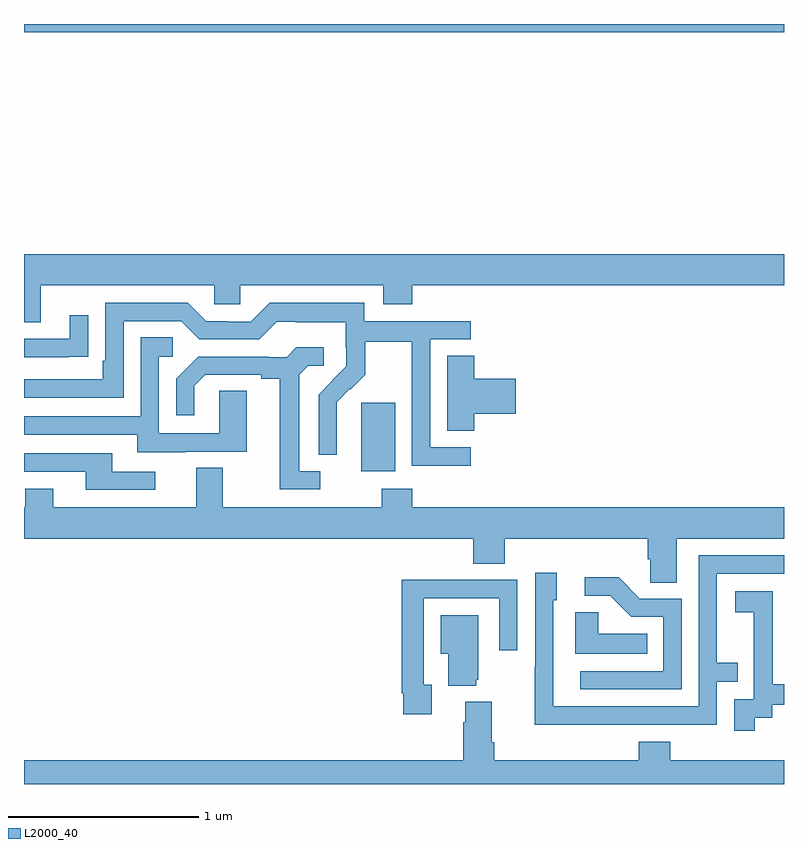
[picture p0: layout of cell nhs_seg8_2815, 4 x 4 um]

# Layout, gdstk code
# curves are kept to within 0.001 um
import gdstk
lib = gdstk.Library(unit=1e-6, precision=1e-09)
def R(c, l, rs):  # rectangles x0, y0, x1, y1
    for r in rs: c.add(gdstk.rectangle(r[:2], r[2:], *l))
def P(c, l, *ps):  # polygons
    for p in ps: c.add(gdstk.Polygon(p, *l))
L2000_40 = (2000, 40)

nhs_seg8_2815 = lib.new_cell('nhs_seg8_2815')
R(nhs_seg8_2815, L2000_40, [(290.774,1091.546,290.953,1091.907), (289,1093.856,293,1093.9)])
P(nhs_seg8_2815, L2000_40, [(289.087,1092.524),(290.001,1092.524),(290.001,1092.426),(290.139,1092.426),(290.139,1092.524),(290.891,1092.524),(290.891,1092.425),(291.044,1092.425),(291.044,1092.524),(293,1092.524),(293,1092.688),(289,1092.688),(289,1092.33),(289.087,1092.33)],
  [(291.352,1091.673),(291.138,1091.673),(291.138,1092.24),(291.352,1092.24),(291.352,1092.336),(290.79,1092.336),(290.79,1092.433),(290.293,1092.433),(290.193,1092.333),(290.078,1092.333),(290.078,1092.336),(289.959,1092.336),(289.863,1092.432),(289.428,1092.432),(289.428,1092.127),(289.415,1092.127),(289.415,1092.03),(289,1092.03),(289,1091.934),(289.524,1091.934),(289.524,1092.336),(289.827,1092.336),(289.923,1092.24),(290.238,1092.24),(290.331,1092.333),(290.431,1092.333),(290.431,1092.329),(290.694,1092.329),(290.694,1092.195),(290.696,1092.195),(290.696,1092.098),(290.55,1091.95),(290.55,1091.632),(290.646,1091.632),(290.645,1091.909),(290.715,1091.979),(290.718,1091.976),(290.795,1092.053),(290.795,1092.228),(291.04,1092.228),(291.04,1092.004),(291.042,1092.004),(291.042,1091.575),(291.352,1091.575)],
  [(289.235,1092.148),(289.337,1092.148),(289.337,1092.367),(289.241,1092.367),(289.241,1092.243),(289,1092.243),(289,1092.147),(289.235,1092.147)],
  [(289.849,1091.649),(290.173,1091.649),(290.173,1091.969),(290.028,1091.969),(290.028,1091.745),(289.71,1091.745),(289.71,1092.15),(289.783,1092.15),(289.783,1092.251),(289.614,1092.251),(289.614,1091.835),(289,1091.835),(289,1091.739),(289.595,1091.739),(289.595,1091.645),(289.849,1091.645)],
  [(290.56,1091.547),(290.449,1091.547),(290.449,1092.055),(290.496,1092.102),(290.578,1092.102),(290.578,1092.199),(290.434,1092.199),(290.382,1092.147),(290.288,1092.147),(290.288,1092.15),(289.916,1092.15),(289.8,1092.034),(289.8,1091.841),(289.897,1091.841),(289.897,1091.997),(289.954,1092.054),(290.249,1092.054),(290.249,1092.032),(290.345,1092.032),(290.345,1091.451),(290.56,1091.451)],
  [(291.371,1091.849),(291.589,1091.849),(291.589,1092.032),(291.371,1092.032),(291.371,1092.155),(291.227,1092.155),(291.227,1091.758),(291.371,1091.758)],
  [(289.69,1091.544),(289.465,1091.544),(289.465,1091.64),(289,1091.64),(289,1091.544),(289.325,1091.544),(289.325,1091.448),(289.69,1091.448)],
  [(292.435,1091.192),(293,1091.192),(293,1091.356),(291.044,1091.356),(291.044,1091.455),(290.884,1091.455),(290.884,1091.356),(290.047,1091.356),(290.047,1091.564),(289.907,1091.564),(289.907,1091.356),(289.153,1091.356),(289.153,1091.455),(289.006,1091.455),(289.006,1091.356),(289,1091.356),(289,1091.192),(291.365,1091.192),(291.365,1091.059),(291.53,1091.059),(291.53,1091.192),(292.283,1091.192),(292.283,1091.083),(292.296,1091.083),(292.296,1090.96),(292.435,1090.96)],
  [(292.151,1090.212),(292.647,1090.212),(292.647,1090.437),(292.757,1090.437),(292.757,1090.538),(292.647,1090.538),(292.647,1091.007),(293,1091.007),(293,1091.103),(292.551,1091.103),(292.551,1090.308),(291.786,1090.308),(291.786,1090.866),(291.805,1090.866),(291.805,1091.011),(291.69,1091.011),(291.69,1090.517),(291.688,1090.517),(291.688,1090.211),(292.151,1090.211)],
  [(292.461,1090.875),(292.242,1090.875),(292.129,1090.988),(291.951,1090.988),(291.951,1090.89),(292.085,1090.89),(292.196,1090.779),(292.365,1090.779),(292.365,1090.494),(291.927,1090.494),(291.927,1090.398),(292.461,1090.398)],
  [(291.145,1090.422),(291.105,1090.422),(291.105,1090.878),(291.501,1090.878),(291.501,1090.605),(291.597,1090.605),(291.597,1090.974),(291.281,1090.974),(291.281,1090.976),(290.989,1090.976),(290.989,1090.378),(290.997,1090.378),(290.997,1090.266),(291.145,1090.266)],
  [(292.846,1090.249),(292.938,1090.249),(292.938,1090.317),(293,1090.317),(293,1090.426),(292.94,1090.426),(292.94,1090.709),(292.941,1090.709),(292.941,1090.915),(292.743,1090.915),(292.743,1090.805),(292.841,1090.805),(292.841,1090.577),(292.842,1090.577),(292.842,1090.347),(292.737,1090.347),(292.737,1090.179),(292.846,1090.179)],
  [(292.28,1090.69),(292.023,1090.69),(292.023,1090.805),(291.902,1090.805),(291.902,1090.586),(292.28,1090.586)],
  [(291.38,1090.449),(291.391,1090.449),(291.391,1090.789),(291.194,1090.789),(291.194,1090.586),(291.233,1090.586),(291.233,1090.418),(291.38,1090.418)],
  [(293,1090.024),(292.4,1090.024),(292.4,1090.123),(292.235,1090.123),(292.235,1090.024),(291.476,1090.024),(291.476,1090.12),(291.463,1090.12),(291.463,1090.333),(291.323,1090.333),(291.323,1090.226),(291.311,1090.226),(291.311,1090.024),(289,1090.024),(289,1089.9),(293,1089.9)])

lib.write_gds('nhs_seg8_2815.gds')
